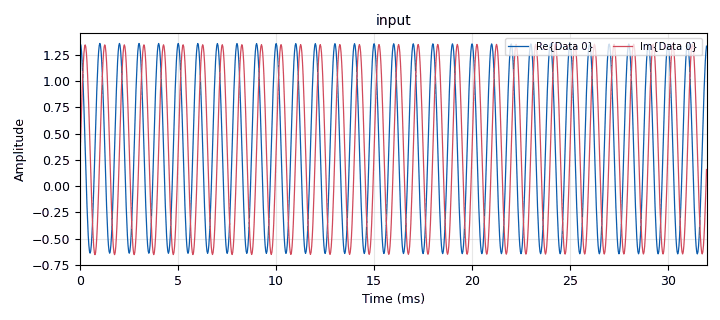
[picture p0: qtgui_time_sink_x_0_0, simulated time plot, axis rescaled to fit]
<?xml version='1.0' encoding='utf-8'?>
<?grc format='1' created='3.7.8'?>
<flow_graph>
<block>
<key>options</key>
<param><key>id</key><value>top_block</value></param>
<param><key>category</key><value>Custom</value></param>
<param><key>generate_options</key><value>qt_gui</value></param>
</block>
<block>
<key>variable</key>
<param><key>id</key><value>samp_rate</value></param>
<param><key>value</key><value>32000</value></param>
</block>
<block>
<key>variable_qtgui_check_box</key>
<param><key>id</key><value>variable_qtgui_check_box_0</value></param>
<param><key>value</key><value>False</value></param>
<param><key>false</key><value>False</value></param>
<param><key>label</key><value>Transmit</value></param>
<param><key>true</key><value>True</value></param>
<param><key>type</key><value>bool</value></param>
</block>
<block>
<key>variable_qtgui_label</key>
<param><key>id</key><value>variable_qtgui_label_0</value></param>
<param><key>value</key><value>variable_qtgui_check_box_0</value></param>
<param><key>type</key><value>int</value></param>
</block>
<block>
<key>analog_sig_source_x</key>
<param><key>id</key><value>analog_sig_source_x_0</value></param>
<param><key>amp</key><value>1</value></param>
<param><key>freq</key><value>1000</value></param>
<param><key>offset</key><value>0</value></param>
<param><key>type</key><value>complex</value></param>
<param><key>samp_rate</key><value>samp_rate</value></param>
<param><key>waveform</key><value>analog.GR_COS_WAVE</value></param>
</block>
<block>
<key>analog_sig_source_x</key>
<param><key>id</key><value>analog_sig_source_x_1</value></param>
<param><key>amp</key><value>0.5</value></param>
<param><key>freq</key><value>0.1</value></param>
<param><key>offset</key><value>0</value></param>
<param><key>type</key><value>complex</value></param>
<param><key>samp_rate</key><value>samp_rate</value></param>
<param><key>waveform</key><value>analog.GR_COS_WAVE</value></param>
</block>
<block>
<key>blocks_sub_xx</key>
<param><key>id</key><value>blocks_sub_xx_0</value></param>
<param><key>type</key><value>complex</value></param>
</block>
<block>
<key>blocks_throttle</key>
<param><key>id</key><value>blocks_throttle_0</value></param>
<param><key>samples_per_second</key><value>samp_rate</value></param>
<param><key>type</key><value>complex</value></param>
</block>
<block>
<key>nickoe_osmocom_hackrf_hybrid</key>
<param><key>id</key><value>nickoe_osmocom_hackrf_hybrid_1</value></param>
<param><key>bb_gain</key><value>20</value></param>
<param><key>dc_offset_mode</key><value>0</value></param>
<param><key>default_mode</key><value>True</value></param>
<param><key>center_freq</key><value>144e6</value></param>
<param><key>freq_corr</key><value>0</value></param>
<param><key>gain_mode</key><value>False</value></param>
<param><key>if_gain</key><value>10</value></param>
<param><key>iq_balance_mode</key><value>0</value></param>
<param><key>rf_gain</key><value>0</value></param>
<param><key>sample_rate</key><value>samp_rate</value></param>
<param><key>p</key><value>variable_qtgui_check_box_0</value></param>
</block>
<block>
<key>qtgui_freq_sink_x</key>
<param><key>id</key><value>qtgui_freq_sink_x_0</value></param>
<param><key>bw</key><value>samp_rate</value></param>
<param><key>fc</key><value>0</value></param>
<param><key>fftsize</key><value>1024</value></param>
<param><key>showports</key><value>True</value></param>
<param><key>type</key><value>complex</value></param>
<param><key>wintype</key><value>firdes.WIN_BLACKMAN_hARRIS</value></param>
</block>
<block>
<key>qtgui_time_sink_x</key>
<param><key>id</key><value>qtgui_time_sink_x_0</value></param>
<param><key>color1</key><value>"blue"</value></param>
<param><key>label1</key><value></value></param>
<param><key>color2</key><value>"red"</value></param>
<param><key>label2</key><value></value></param>
<param><key>name</key><value>"output"</value></param>
<param><key>size</key><value>1024</value></param>
<param><key>srate</key><value>samp_rate</value></param>
<param><key>type</key><value>complex</value></param>
</block>
<block>
<key>qtgui_time_sink_x</key>
<param><key>id</key><value>qtgui_time_sink_x_0_0</value></param>
<param><key>color1</key><value>"blue"</value></param>
<param><key>label1</key><value></value></param>
<param><key>color2</key><value>"red"</value></param>
<param><key>label2</key><value></value></param>
<param><key>name</key><value>"input"</value></param>
<param><key>size</key><value>1024</value></param>
<param><key>srate</key><value>samp_rate</value></param>
<param><key>type</key><value>complex</value></param>
</block>
<connection><source_block_id>analog_sig_source_x_0</source_block_id><sink_block_id>blocks_sub_xx_0</sink_block_id><source_key>0</source_key><sink_key>0</sink_key></connection>
<connection><source_block_id>analog_sig_source_x_1</source_block_id><sink_block_id>blocks_sub_xx_0</sink_block_id><source_key>0</source_key><sink_key>1</sink_key></connection>
<connection><source_block_id>blocks_sub_xx_0</source_block_id><sink_block_id>blocks_throttle_0</sink_block_id><source_key>0</source_key><sink_key>0</sink_key></connection>
<connection><source_block_id>blocks_throttle_0</source_block_id><sink_block_id>nickoe_osmocom_hackrf_hybrid_1</sink_block_id><source_key>0</source_key><sink_key>0</sink_key></connection>
<connection><source_block_id>blocks_throttle_0</source_block_id><sink_block_id>qtgui_time_sink_x_0_0</sink_block_id><source_key>0</source_key><sink_key>0</sink_key></connection>
<connection><source_block_id>nickoe_osmocom_hackrf_hybrid_1</source_block_id><sink_block_id>qtgui_freq_sink_x_0</sink_block_id><source_key>0</source_key><sink_key>0</sink_key></connection>
<connection><source_block_id>nickoe_osmocom_hackrf_hybrid_1</source_block_id><sink_block_id>qtgui_time_sink_x_0</sink_block_id><source_key>0</source_key><sink_key>0</sink_key></connection>
</flow_graph>
